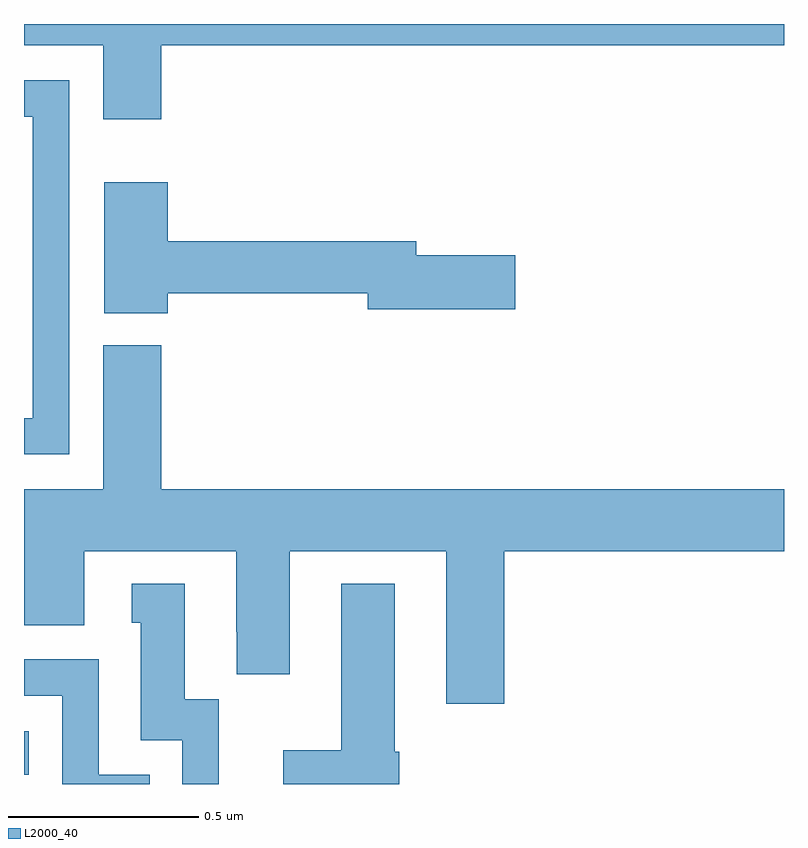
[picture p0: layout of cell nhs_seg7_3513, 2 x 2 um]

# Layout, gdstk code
import gdstk
lib = gdstk.Library(unit=1e-6, precision=1e-09)
def R(c, l, rs):  # rectangles x0, y0, x1, y1
    for r in rs: c.add(gdstk.rectangle(r[:2], r[2:], *l))
def P(c, l, *ps):  # polygons
    for p in ps: c.add(gdstk.Polygon(p, *l))
L2000_40 = (2000, 40)

nhs_seg7_3513 = lib.new_cell('nhs_seg7_3513')
R(nhs_seg7_3513, L2000_40, [(160,1004.024,160.012,1004.139)])
P(nhs_seg7_3513, L2000_40, [(160.361,1005.944),(162,1005.944),(162,1006),(160,1006),(160,1005.944),(160.208,1005.944),(160.208,1005.75),(160.361,1005.75)],
  [(160.119,1005.852),(160,1005.852),(160,1005.756),(160.023,1005.756),(160.023,1004.963),(160,1004.963),(160,1004.868),(160.119,1004.868)],
  [(160.378,1005.292),(160.904,1005.292),(160.904,1005.25),(161.293,1005.25),(161.293,1005.392),(161.032,1005.392),(161.032,1005.428),(160.378,1005.428),(160.378,1005.583),(160.211,1005.583),(160.211,1005.239),(160.378,1005.239)],
  [(160.361,1005.154),(160.208,1005.154),(160.208,1004.776),(160,1004.776),(160,1004.418),(160.159,1004.418),(160.159,1004.612),(160.559,1004.612),(160.559,1004.401),(160.56,1004.401),(160.56,1004.289),(160.699,1004.289),(160.699,1004.612),(161.111,1004.612),(161.111,1004.211),(161.264,1004.211),(161.264,1004.612),(162,1004.612),(162,1004.776),(160.361,1004.776)],
  [(160.988,1004.085),(160.975,1004.085),(160.975,1004.527),(160.835,1004.527),(160.835,1004.089),(160.682,1004.089),(160.682,1004),(160.988,1004)],
  [(160.512,1004.223),(160.423,1004.223),(160.423,1004.527),(160.283,1004.527),(160.283,1004.424),(160.307,1004.424),(160.307,1004.115),(160.416,1004.115),(160.416,1004),(160.512,1004)],
  [(160.331,1004.025),(160.197,1004.025),(160.197,1004.328),(160,1004.328),(160,1004.232),(160.101,1004.232),(160.101,1004),(160.331,1004)])

lib.write_gds('nhs_seg7_3513.gds')
